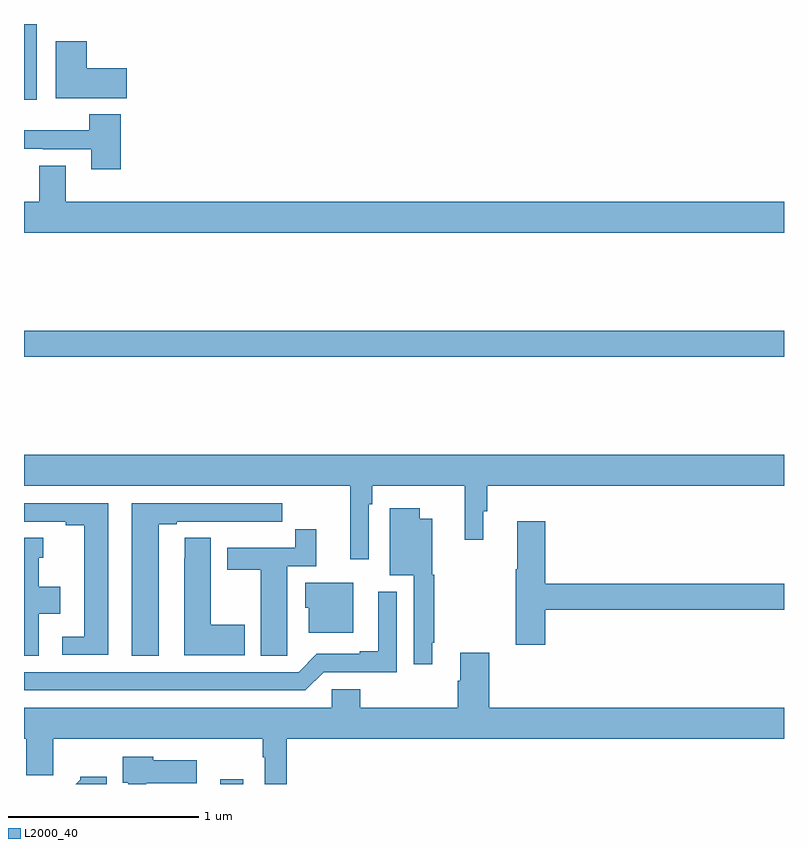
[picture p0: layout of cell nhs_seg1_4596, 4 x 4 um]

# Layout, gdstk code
import gdstk
lib = gdstk.Library(unit=1e-6, precision=1e-09)
def R(c, l, rs):  # rectangles x0, y0, x1, y1
    for r in rs: c.add(gdstk.rectangle(r[:2], r[2:], *l))
def P(c, l, *ps):  # polygons
    for p in ps: c.add(gdstk.Polygon(p, *l))
L2000_40 = (2000, 40)

nhs_seg1_4596 = lib.new_cell('nhs_seg1_4596')
R(nhs_seg1_4596, L2000_40, [(362.033,514.199,362.155,514.225), (361,516.448,365,516.584), (361,517.8,361.066,518.199)])
P(nhs_seg1_4596, L2000_40, [(361.54,517.966),(361.33,517.966),(361.33,518.107),(361.166,518.107),(361.166,517.808),(361.54,517.808)],
  [(361.508,517.723),(361.343,517.723),(361.343,517.639),(361,517.639),(361,517.542),(361.099,517.542),(361.099,517.539),(361.355,517.539),(361.355,517.434),(361.508,517.434)],
  [(365,517.264),(361.219,517.264),(361.219,517.454),(361.079,517.454),(361.079,517.264),(361,517.264),(361,517.1),(365,517.1)],
  [(362.814,515.672),(362.834,515.672),(362.834,515.768),(363.319,515.768),(363.319,515.484),(363.418,515.484),(363.418,515.634),(363.437,515.634),(363.437,515.768),(365,515.768),(365,515.932),(361,515.932),(361,515.768),(362.717,515.768),(362.717,515.382),(362.814,515.382)],
  [(361.708,515.565),(361.804,515.565),(361.804,515.58),(362.08,515.58),(362.08,515.579),(362.246,515.579),(362.246,515.58),(362.359,515.58),(362.359,515.676),(361.568,515.676),(361.568,514.873),(361.708,514.873)],
  [(361.444,515.676),(361,515.676),(361,515.58),(361.22,515.58),(361.22,515.56),(361.316,515.56),(361.316,514.974),(361.2,514.974),(361.2,514.878),(361.444,514.878)],
  [(363.148,514.942),(363.16,514.942),(363.16,515.301),(363.148,515.301),(363.148,515.596),(363.082,515.596),(363.082,515.65),(362.924,515.65),(362.924,515.297),(363.051,515.297),(363.051,514.83),(363.148,514.83)],
  [(363.743,515.116),(365,515.116),(365,515.252),(363.743,515.252),(363.743,515.581),(363.596,515.581),(363.596,515.329),(363.589,515.329),(363.589,514.932),(363.743,514.932)],
  [(362.385,514.984),(362.386,514.984),(362.386,515.346),(362.537,515.346),(362.537,515.539),(362.428,515.539),(362.428,515.442),(362.069,515.442),(362.069,515.326),(362.246,515.326),(362.246,514.873),(362.385,514.873)],
  [(362.161,515.037),(361.984,515.037),(361.984,515.495),(361.845,515.495),(361.845,515.387),(361.844,515.387),(361.844,514.877),(362.161,514.877)],
  [(361.078,515.096),(361.192,515.096),(361.192,515.236),(361.078,515.236),(361.078,515.391),(361.102,515.391),(361.102,515.494),(361,515.494),(361,514.873),(361.078,514.873)],
  [(362.734,515.257),(362.48,515.257),(362.48,515.127),(362.498,515.127),(362.498,514.994),(362.734,514.994)],
  [(362.577,514.788),(362.961,514.788),(362.961,515.212),(362.864,515.212),(362.864,514.897),(362.768,514.897),(362.768,514.884),(362.541,514.884),(362.445,514.788),(361,514.788),(361,514.692),(362.481,514.692)],
  [(362.384,514.436),(365,514.436),(365,514.6),(363.449,514.6),(363.449,514.891),(363.296,514.891),(363.296,514.742),(363.284,514.742),(363.284,514.6),(362.771,514.6),(362.771,514.698),(362.619,514.698),(362.619,514.6),(361,514.6),(361,514.436),(361.013,514.436),(361.013,514.246),(361.153,514.246),(361.153,514.436),(362.256,514.436),(362.256,514.34),(362.268,514.34),(362.268,514.199),(362.384,514.199)],
  [(361.644,514.202),(361.909,514.202),(361.909,514.324),(361.68,514.324),(361.68,514.342),(361.52,514.342),(361.52,514.206),(361.548,514.206),(361.548,514.199),(361.644,514.199)],
  [(361.435,514.237),(361.296,514.237),(361.296,514.222),(361.273,514.199),(361.435,514.199)])

lib.write_gds('nhs_seg1_4596.gds')
